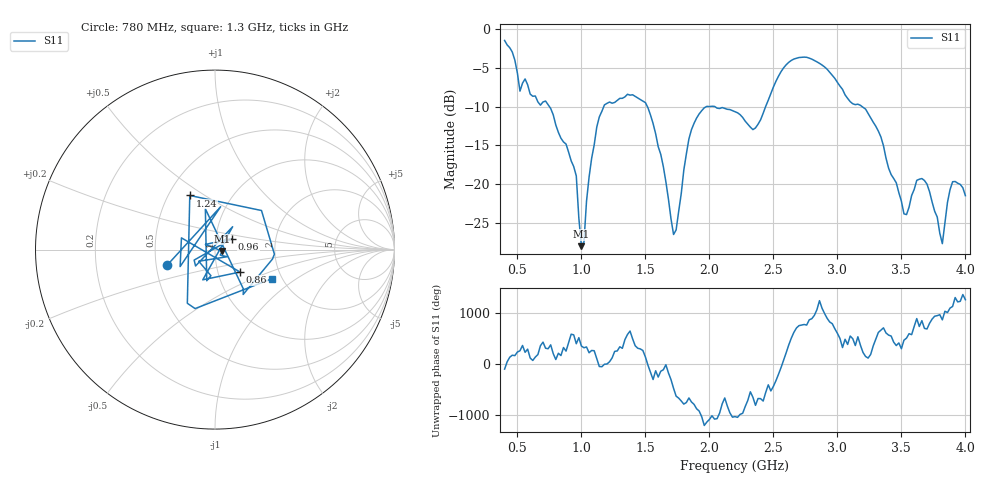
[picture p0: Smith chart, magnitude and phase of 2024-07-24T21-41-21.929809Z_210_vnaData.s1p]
!Created with skrf (http://scikit-rf.org).
# Hz S RI R 50.0
!freq ReS11 ImS11
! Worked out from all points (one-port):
!   181 points, 400 MHz to 4 GHz, reference 50 ohm
!   lowest |S11| = -28.0 dB at 1 GHz (marker M1), VSWR 1.08, Z = 54.1 - j0.897 ohm
!   |S11| at or under -10 dB: 750.1 MHz to 1.175 GHz (424.4 MHz wide, 44.1 % of centre); 1.516 GHz to 1.977 GHz (461 MHz wide, 26.4 % of centre); 3.193 GHz to end of sweep (the widest 3 of 4)
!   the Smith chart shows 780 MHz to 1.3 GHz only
!   S11 on the Smith chart (normalised r, x): 780 MHz: 0.57, -0.11; 860 MHz: 1.28, -0.33; 960 MHz: 1.20, +0.15; 1.24 GHz: 0.64, +0.43; 1.3 GHz: 1.78, -0.66
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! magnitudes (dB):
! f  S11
! 400 MHz  -1.5
! 520 MHz  -8.0
! 560 MHz  -6.4
! 780 MHz  -11.1
! 860 MHz  -14.5
! 960 MHz  -18.9
! 1 GHz  -28.0
! 1.02 GHz  -27.4
! 1.12 GHz  -12.6
! 1.24 GHz  -9.6
! 1.3 GHz  -8.9
! 1.5 GHz  -9.5
! 1.62 GHz  -16.1
! 1.72 GHz  -26.5
! 1.76 GHz  -23.5
! 1.84 GHz  -14.1
! 1.9 GHz  -11.5
! 2.2 GHz  -10.6
! 2.36 GHz  -12.7
! 2.66 GHz  -3.9
! 3.1 GHz  -9.4
! 3.3 GHz  -12.5
! 3.52 GHz  -23.8
! 3.56 GHz  -22.9
! 3.68 GHz  -19.5
! 3.82 GHz  -27.6
! 3.9 GHz  -19.7
! 4 GHz  -21.5
